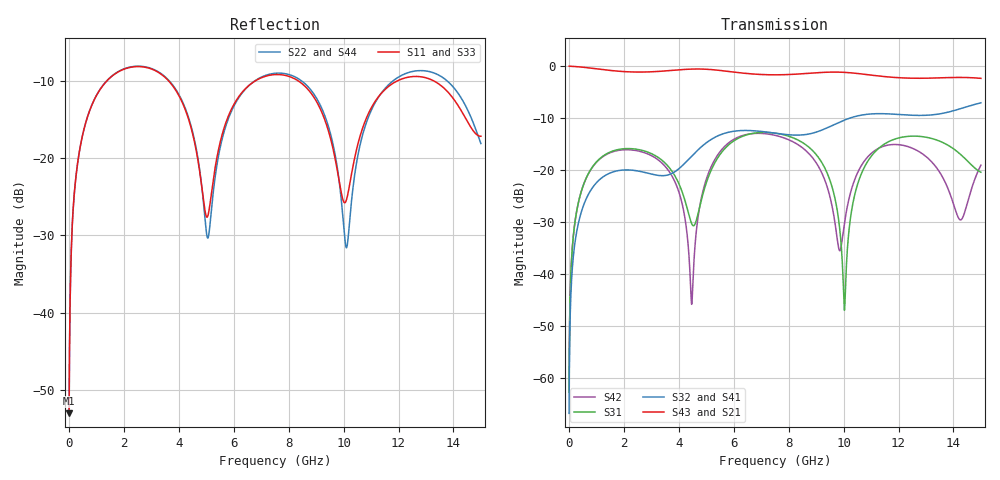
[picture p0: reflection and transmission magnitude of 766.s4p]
! Created with skrf 1.8.0 (http://scikit-rf.org).
# GHz S RI R 50.0
!freq ReS11 ImS11 ReS12 ImS12 ReS13 ImS13
! ReS14 ImS14
! ReS21 ImS21 ReS22 ImS22 ReS23 ImS23
! ReS24 ImS24
! ReS31 ImS31 ReS32 ImS32 ReS33 ImS33
! ReS34 ImS34
! ReS41 ImS41 ReS42 ImS42 ReS43 ImS43
! ReS44 ImS44
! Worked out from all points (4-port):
!   2499 points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, 5 MHz to 15 GHz, reference 50 ohm
!   strongest paths, dB at 5 MHz, 3.476 GHz, 7.19 GHz, 11.1 GHz, 15 GHz:
!     S43: 0.0, -0.9, -1.7, -1.8, -2.4
!     S21: 0.0, -0.9, -1.7, -1.8, -2.4
!     S32: -66.7, -21.0, -12.7, -9.2, -7.1
!     S41: -66.7, -21.1, -12.7, -9.2, -7.1
!     S31: -62.7, -18.5, -12.7, -16.7, -20.4
!     S42: -62.7, -19.1, -13.0, -16.4, -19.0
!   lowest |S11| = -53.0 dB at 5 MHz (marker M1), VSWR 1.00, Z = 50.2 + j0.135 ohm
!   |S11| at or under -10 dB: 3.623 GHz to 6.794 GHz (3.171 GHz wide, 60.9 % of centre); 8.34 GHz to 11.97 GHz (3.629 GHz wide, 35.7 % of centre); 13.27 GHz to end of sweep (the widest 3 of 4)
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0.005  0.00178 0.00135  0.9982 -0.00346  9.06e-05 0.000728  -8.77e-05 -0.000453
       0.9982 -0.00346  0.00178 0.00135  -8.77e-05 -0.000453  9.04e-05 0.000728
       9.06e-05 0.000728  -8.77e-05 -0.000453  0.00178 0.00135  0.9982 -0.00346
       -8.77e-05 -0.000453  9.04e-05 0.000728  0.9982 -0.00346  0.00178 0.00135
1.469362  0.2765 0.1747  0.5317 -0.7389  0.137 0.0564  -0.0932 -0.00329
          0.5317 -0.7389  0.2787 0.1732  -0.0932 -0.00325  0.1307 0.0653
          0.137 0.0564  -0.0932 -0.00325  0.2766 0.1748  0.5317 -0.7389
          -0.0932 -0.00329  0.1307 0.0653  0.5317 -0.7389  0.2788 0.1732
4.470613  0.0846 -0.1252  -0.8437 -0.4055  -0.0262 -0.0157  -0.0552 0.1249
          -0.8437 -0.4055  0.0764 -0.1351  -0.0548 0.1251  0.00477 0.00192
          -0.0262 -0.0157  -0.0548 0.1251  0.0852 -0.127  -0.8433 -0.4057
          -0.0552 0.1249  0.00477 0.00192  -0.8433 -0.4057  0.0775 -0.1365
7.771988  0.3432 -0.0336  -0.0371 0.8249  0.1992 -0.0941  0.2084 -0.0743
          -0.0371 0.8249  0.3509 -0.0405  0.2087 -0.0758  0.1982 -0.0583
          0.1992 -0.0941  0.2087 -0.0758  0.342 -0.0332  -0.0357 0.8252
          0.2084 -0.0743  0.1982 -0.0583  -0.0357 0.8252  0.3504 -0.0423
10.02918  0.0514 -0.00208  0.8485 0.1947  -0.00424 0.00154  0.059 -0.297
          0.8485 0.1947  0.0269 -0.0177  0.0565 -0.2975  0.0217 0.0215
          -0.00424 0.00154  0.0565 -0.2975  0.0518 -0.00347  0.849 0.192
          0.059 -0.297  0.0217 0.0215  0.849 0.192  0.0269 -0.0191
11.29846  0.2041 0.1489  0.677 -0.4297  0.1618 0.0264  -0.2253 -0.2663
          0.677 -0.4297  0.1879 0.1677  -0.2278 -0.2646  0.155 0.0517
          0.1618 0.0264  -0.2278 -0.2646  0.2026 0.1463  0.6754 -0.433
          -0.2253 -0.2663  0.155 0.0517  0.6754 -0.433  0.1882 0.165
15  0.1382 -0.00317  -0.7061 -0.2872  -0.0879 0.0377  -0.1646 0.4119
    -0.7061 -0.2872  0.1018 -0.0709  -0.1609 0.4134  -0.0155 0.1106
    -0.0879 0.0377  -0.1609 0.4134  0.1323 -0.000212  -0.7107 -0.2762
    -0.1646 0.4119  -0.0155 0.1106  -0.7107 -0.2762  0.1022 -0.0642
